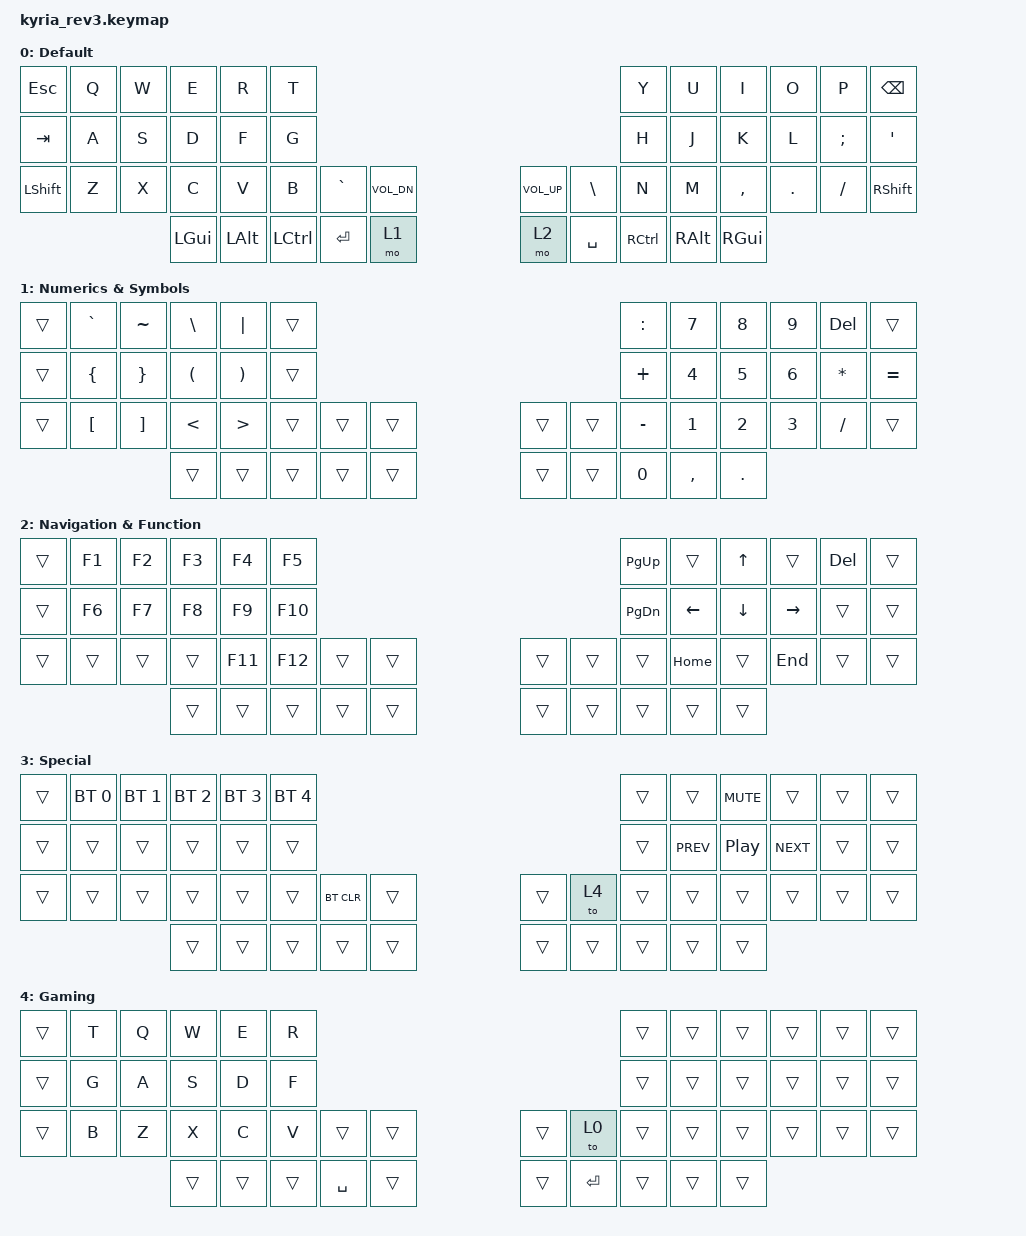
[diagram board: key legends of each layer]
/*
 * Copyright (c) 2023 The ZMK Contributors
 *
 * SPDX-License-Identifier: MIT
 */

#include <behaviors.dtsi>
#include <dt-bindings/zmk/bt.h>
#include <dt-bindings/zmk/keys.h>

/* Uncomment this block if using RGB
&led_strip {
    chain-length = <6>;
    // chain-length = <31>; // Uncomment if using both per-key and underglow LEDs
    // chain-length = <25>; // Uncomment if using only per-key LEDs.
};
 */

/ {
    keymap {
        compatible = "zmk,keymap";

        default_layer { // Layer 0
            display-name = "Default";
            // ---------------------------------------------------------------------------------------------------------------------------------
            // |  ESC  |  Q  |  W  |  E   |  R  |  T   |                                         |  Y   |  U  |  I  |  O  |  P  | BSPC  |
            // |  TAB  |  A  |  S  |  D   |  F  |  G   |                                         |  H   |  J  |  K  |  L  |  ;  |   '   |
            // | SHIFT |  Z  |  X  |  C   |  V  |  B   |   `   | VOL-DN  |     | VOL-UP  |   \   |  N   |  M  |  ,  |  .  |  /  | SHIFT |
            //                     | GUI  | ALT | CTRL | ENTER | LAYER 1 |     | LAYER 2 | SPACE | CTRL | ALT | GUI |
            bindings = <
            &kp ESC   &kp Q &kp W &kp E &kp R &kp T                                                 &kp Y &kp U &kp I &kp O &kp P &kp BSPC
            &kp TAB   &kp A &kp S &kp D &kp F &kp G                                                 &kp H &kp J &kp K &kp L &kp SEMI &kp SQT
            &kp LSHFT &kp Z &kp X &kp C &kp V &kp B &kp GRAVE &kp C_VOL_DN      &kp C_VOL_UP &kp BSLH &kp N &kp M &kp COMMA &kp DOT &kp FSLH &kp RSHFT
                                  &kp LGUI &kp LALT &kp LCTRL &kp ENTER &mo 1    &mo 2 &kp SPACE &kp RCTRL &kp RALT &kp RGUI
            >;

            // sensor-bindings = <&inc_dec_kp C_VOL_UP C_VOL_DN &inc_dec_kp PG_UP PG_DN>;
        };
        numeric_layer { // Layer 1
            display-name = "Numerics & Symbols";
            // ---------------------------------------------------------------------------------------------------------------------------------
            // |      |  `   |  ~   |  \   |  |   |      |                                        |  :   |  7   |  8   |  9   | DEL  |      |
            // |      |  {   |  }   |  (   |  )   |      |                                        |  +   |  4   |  5   |  6   |  *   |  =   |
            // |      |  [   |  ]   |  <   |  >   |      |      |      |            |      |      |  -   |  1   |  2   |  3   |  /   |      |
            //                      |      |      |      |      |      |            |      |      |  0   |  ,   |  .   |
            bindings = <
            &trans &kp GRAVE &kp TILDE &kp BSLH &kp PIPE &trans                              &kp COLON &kp N7 &kp N8 &kp N9 &kp DEL &trans
            &trans &kp LBRC &kp RBRC &kp LPAR &kp RPAR &trans                                &kp PLUS &kp N4 &kp N5 &kp N6 &kp ASTERISK &kp EQUAL
            &trans &kp LBKT &kp RBKT &kp LT &kp GT &trans &trans &trans        &trans &trans &kp MINUS &kp N1 &kp N2 &kp N3 &kp FSLH &trans
                            &trans &trans &trans &trans &trans                 &trans &trans &kp N0 &kp COMMA &kp DOT
            >;
        };
        navigation_layer { // Layer 2
            display-name = "Navigation & Function";
            // ---------------------------------------------------------------------------------------------------------------------------------
            // |      |  F1  |  F2  |  F3  |  F4  |  F5  |                                        | PGUP |      |  UP  |      | DEL  |      |
            // |      |  F6  |  F7  |  F8  |  F9  |  F10 |                                        | PGDN | LEFT | DOWN | RIGHT|      |      |
            // |      |      |      |      |  F11 |  F12 |      |      |            |      |      |      | HOME |      |  END |      |      |
            //                      |      |      |      |      |      |            |      |      |      |      |      |
            bindings = <
            &trans &kp F1 &kp F2 &kp F3 &kp F4 &kp F5                                      &kp PG_UP &trans &kp UP &trans &kp DEL &trans
            &trans &kp F6 &kp F7 &kp F8 &kp F9 &kp F10                                     &kp PG_DN &kp LEFT &kp DOWN &kp RIGHT &trans &trans
            &trans &trans &trans &trans &kp F11 &kp F12 &trans &trans        &trans &trans &trans &kp HOME &trans &kp END &trans &trans
                                 &trans &trans &trans &trans &trans          &trans &trans &trans &trans &trans
            >;
        };
        special_layer { // Layer 3
            display-name = "Special";
            // ---------------------------------------------------------------------------------------------------------------------------------
            // |      |BTSEL0|BTSEL1|BTSEL2|BTSEL3|BTSEL4|                                        |      |      | MUTE |      |      |      |
            // |      |      |      |      |      |      |                                        |      | PREV | PLAY | NEXT |      |      |
            // |      |      |      |      |      |      |BT_CLR|      |            |      | TO4  |      |      |      |      |      |      |
            //                      |      |      |      |      |      |            |      |      |      |      |      |
            bindings = <
            &trans &bt BT_SEL 0 &bt BT_SEL 1 &bt BT_SEL 2 &bt BT_SEL 3 &bt BT_SEL 4              &trans &trans &kp C_MUTE &trans &trans &trans
            &trans &trans &trans &trans &trans &trans                                            &trans &kp C_PREV &kp C_PP &kp C_NEXT &trans &trans
            &trans &trans &trans &trans &trans &trans &bt BT_CLR &trans            &trans &to 4 &trans &trans &trans &trans &trans &trans
                                 &trans &trans &trans &trans &trans                &trans &trans &trans &trans &trans
            >;
        };
        gaming_layer { // Layer 4
            display-name = "Gaming";
            // ---------------------------------------------------------------------------------------------------------------------------------
            // |      |  T   |  Q   |  W   |  E   |  R   |                                          |      |      |      |      |      |      |
            // |      |  G   |  A   |  S   |  D   |  F   |                                          |      |      |      |      |      |      |
            // |      |  B   |  Z   |  X   |  C   |  V   |       |      |            |      |  TO0  |      |      |      |      |      |      |
            //                      |      |      |      | SPACE |      |            |      | ENTER |      |      |      |
            bindings = <
            &trans &kp T &kp Q &kp W &kp E &kp R                                         &trans &trans &trans &trans &trans &trans
            &trans &kp G &kp A &kp S &kp D &kp F                                         &trans &trans &trans &trans &trans &trans
            &trans &kp B &kp Z &kp X &kp C &kp V &trans &trans                &trans &to 0 &trans &trans &trans &trans &trans &trans
                               &trans &trans &trans &kp SPACE &trans          &trans &kp ENTER &trans &trans &trans
            >;
        };
    };

    conditional_layers {
        compatible = "zmk,conditional-layers";
        tri_layer {
            if-layers = <1 2>;
            then-layer = <3>;
        };
    };
};
